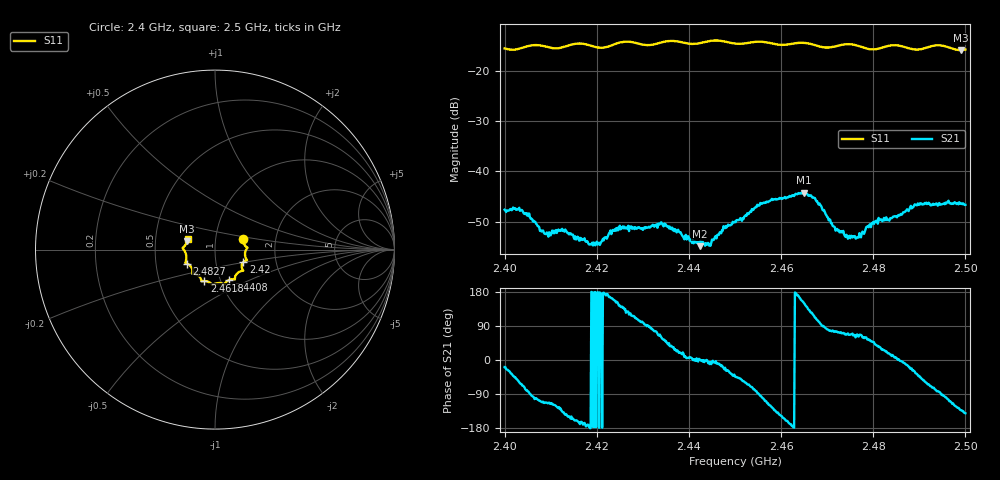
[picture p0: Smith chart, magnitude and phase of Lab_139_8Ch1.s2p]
# Hz S RI R 50
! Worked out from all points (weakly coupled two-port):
!   601 points, 2.4 GHz to 2.5 GHz, reference 50 ohm
!   highest |S21| = -44.24 dB at 2.465 GHz (marker M1); lowest = -54.9 dB at 2.4423 GHz (marker M2)
!   lowest |S11| = -15.8 dB at 2.499 GHz (marker M3), VSWR 1.39, Z = 36.5 + j3.52 ohm
!   |S11| at or under -10 dB: start of sweep to end of sweep
!   S12 and S22 are empty: the file has one direction only
!   S11 on the Smith chart (normalised r, x): 2.4 GHz: 1.36, +0.17; 2.42 GHz: 1.36, -0.19; 2.4408 GHz: 1.10, -0.39; 2.4618 GHz: 0.84, -0.30; 2.4827 GHz: 0.72, -0.12; 2.5 GHz: 0.73, +0.09
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2.4e9  0.1561 0.0618  0.00393 -0.00133  0 0  0 0
2.4035e9  0.1672 0.0222  0.00184 -0.00365  0 0  0 0
2.409e9  0.1748 0.00252  -0.000903 -0.00219  0 0  0 0
2.412667e9  0.1687 -0.0377  -0.00189 -0.00172  0 0  0 0
2.416667e9  0.1781 -0.0594  -0.00205 -0.000619  0 0  0 0
2.42e9  0.1578 -0.0692  -0.00199 0.000152  0 0  0 0
2.4245e9  0.1536 -0.1112  -0.00242 0.00129  0 0  0 0
2.433333e9  0.1119 -0.1521  0.00124 0.00276  0 0  0 0
2.440833e9  0.0787 -0.1689  0.00207 -4.52e-06  0 0  0 0
2.442333e9  0.0651 -0.1782  0.0018 4.12e-05  0 0  0 0
2.444333e9  0.055 -0.1909  0.00182 -0.000183  0 0  0 0
2.45e9  0.0279 -0.1858  0.0023 -0.00218  0 0  0 0
2.455333e9  -0.0124 -0.1959  -0.000148 -0.00459  0 0  0 0
2.461833e9  -0.0602 -0.1752  -0.00557 -0.0012  0 0  0 0
2.465e9  -0.0752 -0.1754  -0.00529 0.00311  0 0  0 0
2.466667e9  -0.0769 -0.1683  -0.00317 0.00459  0 0  0 0
2.4745e9  -0.1268 -0.1353  0.000721 0.00201  0 0  0 0
2.482667e9  -0.1573 -0.0777  0.0031 0.0013  0 0  0 0
2.483333e9  -0.1613 -0.0762  0.00313 0.00101  0 0  0 0
2.489333e9  -0.1604 -0.0316  0.00373 -0.00269  0 0  0 0
2.499e9  -0.1545 0.047  -0.00326 -0.00355  0 0  0 0
2.5e9  -0.1519 0.0617  -0.00358 -0.00295  0 0  0 0
